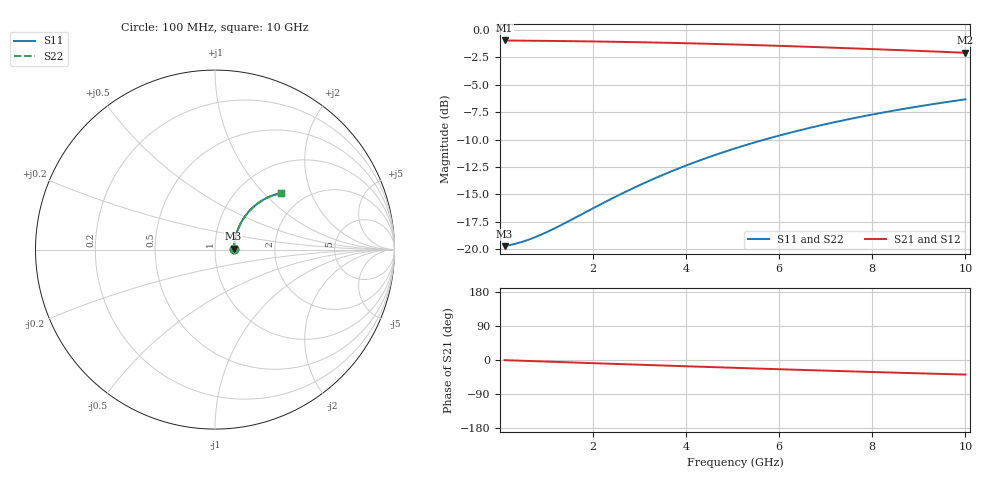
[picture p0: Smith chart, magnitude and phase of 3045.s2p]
# Hz S RI R 50.00
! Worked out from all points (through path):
!   100 points, 100 MHz to 10 GHz, reference 50 ohm
!   highest |S21| = -0.94 dB at 100 MHz (marker M1); lowest = -2.1 dB at 10 GHz (marker M2)
!   group delay of S21, straight-line fit = 10.7 ps
!   lowest |S11| = -19.7 dB at 100 MHz (marker M3), VSWR 1.23, Z = 61.5 + j0.604 ohm
!   |S11| at or under -10 dB: start of sweep to 5.681 GHz
!   |S22| runs from -19.7 to -6.3 dB; largest |S21 - S12| = 0
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1e8  0.1031 0.00486  0.8969 -0.0066  0.8969 -0.0066  0.1031 0.00486
3e8  0.1044 0.0145  0.8955 -0.0197  0.8955 -0.0197  0.1044 0.0145
5e8  0.1057 0.0242  0.8943 -0.0328  0.8943 -0.0328  0.1057 0.0242
8e8  0.1078 0.0385  0.8921 -0.0524  0.8921 -0.0524  0.1078 0.0385
1e9  0.1094 0.048  0.8904 -0.0654  0.8904 -0.0654  0.1094 0.048
1.2e9  0.1113 0.0575  0.8885 -0.0783  0.8885 -0.0783  0.1113 0.0575
1.8e9  0.1184 0.0853  0.8811 -0.1165  0.8811 -0.1165  0.1184 0.0853
2.3e9  0.1259 0.1078  0.8732 -0.1478  0.8732 -0.1478  0.1259 0.1078
2.7e9  0.1331 0.1253  0.8657 -0.1722  0.8657 -0.1722  0.1331 0.1253
3.1e9  0.1411 0.1423  0.8573 -0.1961  0.8573 -0.1961  0.1411 0.1423
3.4e9  0.1477 0.1546  0.8504 -0.2137  0.8504 -0.2137  0.1477 0.1546
3.8e9  0.1572 0.1704  0.8404 -0.2365  0.8404 -0.2365  0.1572 0.1704
4.2e9  0.1675 0.1856  0.8296 -0.2587  0.8296 -0.2587  0.1675 0.1856
4.6e9  0.1785 0.2  0.818 -0.2801  0.818 -0.2801  0.1785 0.2
5.1e9  0.1932 0.217  0.8026 -0.3058  0.8026 -0.3058  0.1932 0.217
5.5e9  0.2057 0.2297  0.7895 -0.3255  0.7895 -0.3255  0.2057 0.2297
5.9e9  0.2186 0.2415  0.7758 -0.3444  0.7758 -0.3444  0.2186 0.2415
6.7e9  0.2457 0.2626  0.747 -0.3796  0.747 -0.3796  0.2457 0.2626
7.5e9  0.2742 0.2804  0.7167 -0.4116  0.7167 -0.4116  0.2742 0.2804
8.4e9  0.3072 0.2963  0.6813 -0.4435  0.6813 -0.4435  0.3072 0.2963
9.2e9  0.3369 0.3069  0.6493 -0.4685  0.6493 -0.4685  0.3369 0.3069
1e10  0.3666 0.3144  0.617 -0.4904  0.617 -0.4904  0.3666 0.3144
